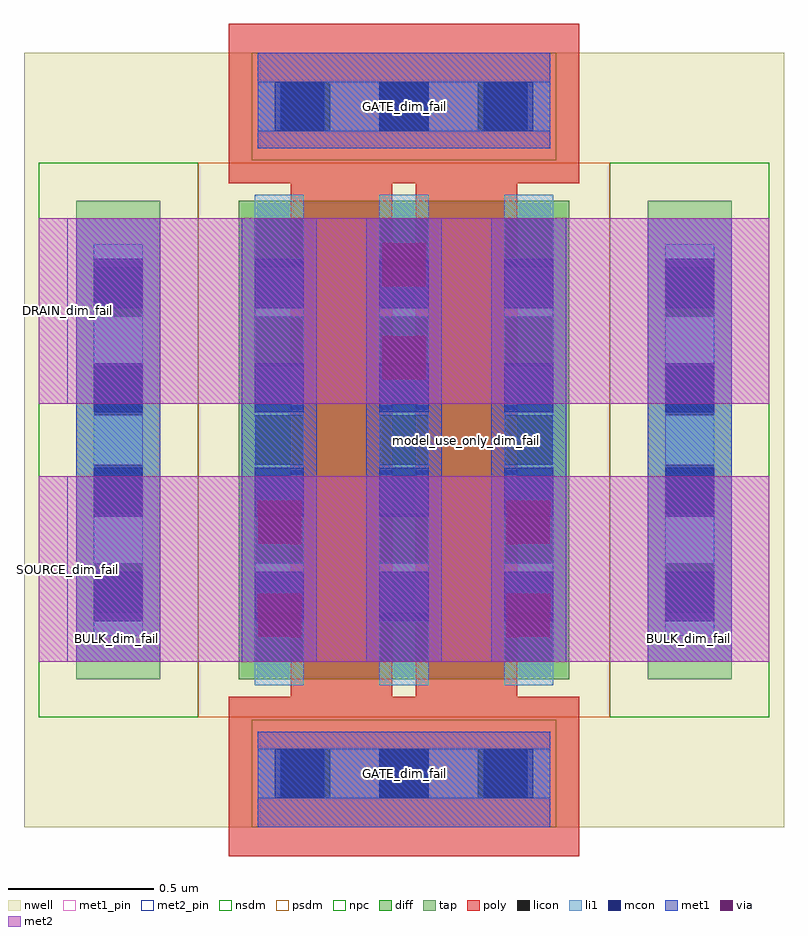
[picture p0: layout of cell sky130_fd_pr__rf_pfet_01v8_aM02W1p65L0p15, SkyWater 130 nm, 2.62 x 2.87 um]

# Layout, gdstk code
import gdstk
lib = gdstk.Library(unit=1e-6, precision=1e-09)
def R(c, l, rs):  # rectangles x0, y0, x1, y1
    for r in rs: c.add(gdstk.rectangle(r[:2], r[2:], *l))
def A(c, l, x, y, w, h, nx, ny, dx, dy):  # array of equal rectangles
    R(c, l, [(x+i*dx, y+j*dy, x+i*dx+w, y+j*dy+h) for i in range(nx) for j in range(ny)])
def P(c, l, *ps):  # polygons
    for p in ps: c.add(gdstk.Polygon(p, *l))
nwell = (64, 20)
diff = (65, 20)
tap = (65, 44)
poly = (66, 20)
licon = (66, 44)
li1 = (67, 20)
mcon = (67, 44)
met1_pin = (68, 16)
met1 = (68, 20)
via = (68, 44)
met2_pin = (69, 16)
met2 = (69, 20)
nsdm = (93, 44)
psdm = (94, 20)
npc = (95, 20)

sky130_fd_pr__rf_pfet_01 = lib.new_cell('sky130_fd_pr__rf_pfet_01v8_aM02W1p65L0p15')
R(sky130_fd_pr__rf_pfet_01, nwell, [(0,0,2.62,2.67)])
R(sky130_fd_pr__rf_pfet_01, diff, [(0.74,0.51,1.88,2.16)])
R(sky130_fd_pr__rf_pfet_01, tap, [(0.18,0.51,0.47,2.16), (2.15,0.51,2.44,2.16)])
P(sky130_fd_pr__rf_pfet_01, poly, [(0.705,-0.1),(0.705,0.45),(0.92,0.45),(0.92,2.22),(1.27,2.22),(1.27,0.45),(1.35,0.45),(1.35,2.22),(0.705,2.22),(0.705,2.77),(1.915,2.77),(1.915,2.22),(1.7,2.22),(1.7,0.45),(1.915,0.45),(1.915,-0.1)])
A(sky130_fd_pr__rf_pfet_01, licon, 0.885, 0.1, 0.17, 0.17, 3, 2, 0.34, 2.3)
A(sky130_fd_pr__rf_pfet_01, licon, 0.795, 0.57, 0.17, 0.17, 3, 5, 0.43, 0.34)
A(sky130_fd_pr__rf_pfet_01, licon, 0.24, 0.74, 0.17, 0.17, 1, 4, 0, 0.34)
A(sky130_fd_pr__rf_pfet_01, licon, 2.21, 0.74, 0.17, 0.17, 1, 4, 0, 0.34)
A(sky130_fd_pr__rf_pfet_01, li1, 0.795, 0.49, 0.17, 1.69, 3, 1, 0.43, 0)
R(sky130_fd_pr__rf_pfet_01, li1, [(0.805,0.1,1.815,0.27), (0.865,0.1,1.755,0.27), (0.24,0.66,0.41,2.01), (2.21,0.66,2.38,2.01), (0.805,2.4,1.815,2.57), (0.865,2.4,1.755,2.57)])
A(sky130_fd_pr__rf_pfet_01, mcon, 0.865, 0.1, 0.17, 0.17, 3, 2, 0.36, 2.3)
A(sky130_fd_pr__rf_pfet_01, mcon, 0.24, 0.71, 0.17, 0.17, 1, 4, 0, 0.36)
A(sky130_fd_pr__rf_pfet_01, mcon, 0.795, 0.71, 0.17, 0.17, 3, 4, 0.43, 0.36)
A(sky130_fd_pr__rf_pfet_01, mcon, 2.21, 0.71, 0.17, 0.17, 1, 4, 0, 0.36)
R(sky130_fd_pr__rf_pfet_01, met1_pin, [(0.805,0,1.815,0.33), (0.18,0.57,0.47,0.65), (2.15,0.57,2.44,0.65), (0.805,2.34,1.815,2.67)])
A(sky130_fd_pr__rf_pfet_01, met1, 0.75, 0.57, 0.26, 1.53, 3, 1, 0.43, 0)
R(sky130_fd_pr__rf_pfet_01, met1, [(0.805,0,1.815,0.33), (0.18,0.57,0.47,2.1), (2.15,0.57,2.44,2.1), (0.805,2.34,1.815,2.67)])
R(sky130_fd_pr__rf_pfet_01, via, [(0.805,0.655,0.955,0.805), (1.665,0.655,1.815,0.805), (0.805,0.975,0.955,1.125), (1.665,0.975,1.815,1.125), (1.235,1.545,1.385,1.695), (1.235,1.865,1.385,2.015)])
R(sky130_fd_pr__rf_pfet_01, met2_pin, [(0.05,0.57,0.15,1.21), (0.05,1.46,0.15,2.1)])
R(sky130_fd_pr__rf_pfet_01, met2, [(0.05,0.57,2.57,1.21), (0.05,1.46,2.57,2.1)])
R(sky130_fd_pr__rf_pfet_01, nsdm, [(0.05,0.38,0.6,2.29), (2.02,0.38,2.57,2.29)])
R(sky130_fd_pr__rf_pfet_01, psdm, [(0.6,0.38,2.02,2.29)])
R(sky130_fd_pr__rf_pfet_01, npc, [(0.785,0,1.835,0.37), (0.785,2.3,1.835,2.67)])
sky130_fd_pr__rf_pfet_01.add(gdstk.Label('model_use_only_dim_fail', (1.525,1.335), layer=66, texttype=83))
sky130_fd_pr__rf_pfet_01.add(gdstk.Label('model_use_only_dim_fail', (1.095,1.335), layer=66, texttype=83))
sky130_fd_pr__rf_pfet_01.add(gdstk.Label('DRAIN_dim_fail', (0.15,1.78), layer=69, texttype=5))
sky130_fd_pr__rf_pfet_01.add(gdstk.Label('SOURCE_dim_fail', (0.15,0.89), layer=69, texttype=5))
sky130_fd_pr__rf_pfet_01.add(gdstk.Label('GATE_dim_fail', (1.31,0.185), layer=68, texttype=5))
sky130_fd_pr__rf_pfet_01.add(gdstk.Label('GATE_dim_fail', (1.31,2.485), layer=68, texttype=5))
sky130_fd_pr__rf_pfet_01.add(gdstk.Label('BULK_dim_fail', (2.29,0.65), layer=68, texttype=5))
sky130_fd_pr__rf_pfet_01.add(gdstk.Label('BULK_dim_fail', (0.32,0.65), layer=68, texttype=5))

lib.write_gds('sky130_fd_pr__rf_pfet_01v8_aM02W1p65L0p15.gds')
